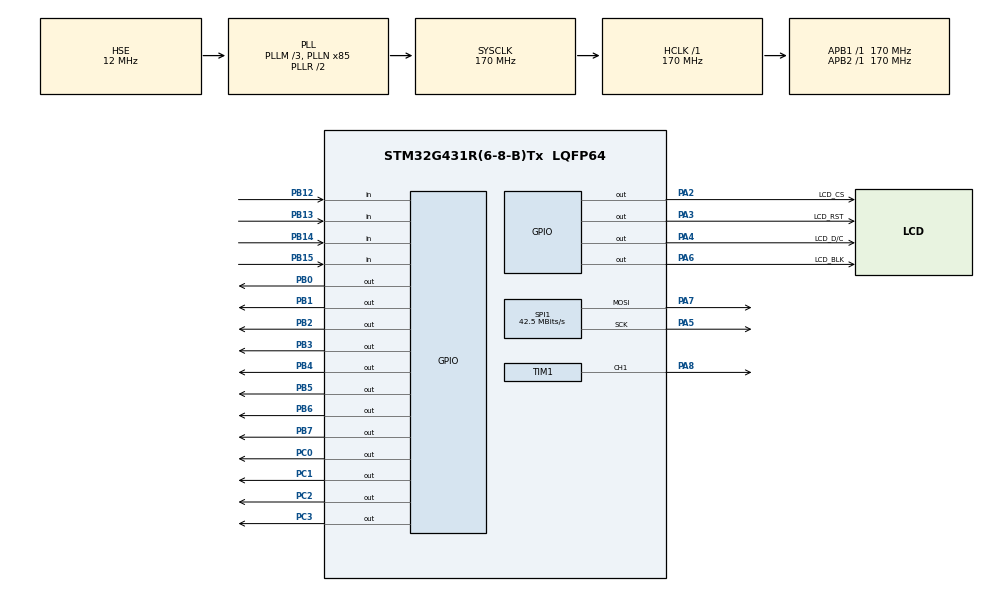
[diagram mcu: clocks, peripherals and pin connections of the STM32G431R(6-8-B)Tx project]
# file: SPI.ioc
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Dma.Request0=SPI1_TX
Dma.SPI1_TX.0.Direction=DMA_MEMORY_TO_PERIPH
Dma.SPI1_TX.0.EventEnable=DISABLE
Dma.SPI1_TX.0.Instance=DMA1_Channel1
Dma.SPI1_TX.0.MemDataAlignment=DMA_MDATAALIGN_BYTE
Dma.SPI1_TX.0.MemInc=DMA_MINC_ENABLE
Dma.SPI1_TX.0.Mode=DMA_NORMAL
Dma.SPI1_TX.0.PeriphDataAlignment=DMA_PDATAALIGN_BYTE
Dma.SPI1_TX.0.PeriphInc=DMA_PINC_DISABLE
Dma.SPI1_TX.0.Polarity=HAL_DMAMUX_REQ_GEN_RISING
Dma.SPI1_TX.0.Priority=DMA_PRIORITY_LOW
Dma.SPI1_TX.0.RequestNumber=1
Dma.SPI1_TX.0.SignalID=NONE
Dma.SPI1_TX.0.SyncEnable=DISABLE
Dma.SPI1_TX.0.SyncPolarity=HAL_DMAMUX_SYNC_NO_EVENT
Dma.SPI1_TX.0.SyncRequestNumber=1
Dma.SPI1_TX.0.SyncSignalID=NONE
Mcu.Family=STM32G4
Mcu.Name=STM32G431R(6-8-B)Tx
Mcu.Package=LQFP64
NVIC.DMA1_Channel1_IRQn=true\:0\:0\:false\:false\:true\:false\:true\:true
NVIC.PriorityGroup=NVIC_PRIORITYGROUP_4
PA2.GPIO_Label=LCD_CS
PA2.Signal=GPIO_Output
PA3.GPIO_Label=LCD_RST
PA3.Signal=GPIO_Output
PA4.GPIO_Label=LCD_D/C
PA4.Signal=GPIO_Output
PA5.GPIO_Speed=GPIO_SPEED_FREQ_VERY_HIGH
PA5.Mode=TX_Only_Simplex_Unidirect_Master
PA5.Signal=SPI1_SCK
PA6.GPIO_Label=LCD_BLK
PA6.Signal=GPIO_Output
PA7.GPIO_Speed=GPIO_SPEED_FREQ_VERY_HIGH
PA7.Mode=TX_Only_Simplex_Unidirect_Master
PA7.Signal=SPI1_MOSI
PA8.Signal=S_TIM1_CH1
PB0.Signal=GPIO_Output
PB1.Signal=GPIO_Output
PB12.Signal=GPIO_Input
PB13.Signal=GPIO_Input
PB14.Signal=GPIO_Input
PB15.Signal=GPIO_Input
PB2.Signal=GPIO_Output
PB3.Signal=GPIO_Output
PB4.Signal=GPIO_Output
PB5.Signal=GPIO_Output
PB6.Signal=GPIO_Output
PB7.Signal=GPIO_Output
PC0.Signal=GPIO_Output
PC1.Signal=GPIO_Output
PC2.Signal=GPIO_Output
PC3.Signal=GPIO_Output
PF0-OSC_IN.Mode=HSE-External-Oscillator
PF0-OSC_IN.Signal=RCC_OSC_IN
PF1-OSC_OUT.Mode=HSE-External-Oscillator
PF1-OSC_OUT.Signal=RCC_OSC_OUT
ProjectManager.HeapSize=0x200
ProjectManager.StackSize=0x400
ProjectManager.TargetToolchain=MDK-ARM V5
RCC.ADC12Freq_Value=170000000
RCC.AHBFreq_Value=170000000
RCC.APB1Freq_Value=170000000
RCC.APB1TimFreq_Value=170000000
RCC.APB2Freq_Value=170000000
RCC.APB2TimFreq_Value=170000000
RCC.CortexFreq_Value=170000000
RCC.EXTERNAL_CLOCK_VALUE=12288000
RCC.HCLKFreq_Value=170000000
RCC.HSE_VALUE=12000000
RCC.HSI48_VALUE=48000000
RCC.HSI_VALUE=16000000
RCC.LSE_VALUE=32768
RCC.PLLM=RCC_PLLM_DIV3
RCC.PLLN=85
RCC.PLLSourceVirtual=RCC_PLLSOURCE_HSE
RCC.SYSCLKFreq_VALUE=170000000
RCC.SYSCLKSource=RCC_SYSCLKSOURCE_PLLCLK
RCC.USBFreq_Value=170000000
RCC.VCOOutputFreq_Value=340000000
SH.S_TIM1_CH1.0=TIM1_CH1,PWM Generation1 CH1
SPI1.BaudRatePrescaler=SPI_BAUDRATEPRESCALER_4
SPI1.CalculateBaudRate=42.5 MBits/s
SPI1.DataSize=SPI_DATASIZE_8BIT
SPI1.Direction=SPI_DIRECTION_2LINES
SPI1.Mode=SPI_MODE_MASTER
SPI1.VirtualType=VM_MASTER
TIM1.Channel-PWM\ Generation1\ CH1=TIM_CHANNEL_1
VP_SYS_VS_DBSignals.Mode=DisableDeadBatterySignals
VP_TIM1_VS_ClockSourceINT.Mode=Internal
VP_TIM1_VS_OPM.Mode=OPM_bit
board=custom

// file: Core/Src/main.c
/* USER CODE BEGIN Header */
/**
  ******************************************************************************
  * @file           : main.c
  * @brief          : Main program body
  ******************************************************************************
  * @attention
  *
  * Copyright (c) 2026 STMicroelectronics.
  * All rights reserved.
  *
  * This software is licensed under terms that can be found in the LICENSE file
  * in the root directory of this software component.
  * If no LICENSE file comes with this software, it is provided AS-IS.
  *
  ******************************************************************************
  */
/* USER CODE END Header */
#include "main.h"
#include "dma.h"
#include "spi.h"
#include "tim.h"
#include "gpio.h"

/* USER CODE BEGIN Includes */
#include "lcd_init.h"
#include "lcd.h"
#include "pic.h"
#include<math.h>
/* USER CODE END Includes */

/* USER CODE BEGIN PD */
#define CENTER_X 140
#define CENTER_Y 120
#define RADIUS 100
#define SECOND_HAND_LEN 60 //
#define MINUTE_HAND_LEN 40
#define HOUR_HAND_LEN 20
#define       SEG_A      (1<<0)
#define       SEG_B      (1<<1)
#define       SEG_C      (1<<2)
#define       SEG_D      (1<<3)
#define       SEG_E      (1<<4)
#define       SEG_F      (1<<5)
#define       SEG_G      (1<<6)
#define       SEG_DP     (1<<7)
#define       DIG_0      (SEG_A+SEG_B+SEG_C+SEG_D+SEG_E+SEG_F)
#define       DIG_1      (SEG_B+SEG_C)
#define       DIG_2      (SEG_A+SEG_B+SEG_D+SEG_E+SEG_G)
#define      	DIG_3      (SEG_A+SEG_B+SEG_C+SEG_D+SEG_G)
#define       DIG_4      (SEG_B+SEG_C+SEG_F+SEG_G)
#define       DIG_5      (SEG_A+SEG_F+SEG_G+SEG_C+SEG_D)
#define       DIG_6      (SEG_A+SEG_C+SEG_D+SEG_E+SEG_F+SEG_G)
#define       DIG_7      (SEG_A+SEG_B+SEG_C)
#define       DIG_8   	 (SEG_A+SEG_B+SEG_C+SEG_D+SEG_E+SEG_F+SEG_G)
#define       DIG_9      (SEG_A+SEG_B+SEG_C+SEG_D+SEG_F+SEG_G)
#define       DIG_A      (SEG_A+SEG_B+SEG_C+SEG_E+SEG_F+SEG_G)
#define       DIG_b      (SEG_C+SEG_D+SEG_E+SEG_F+SEG_G)
#define       DIG_C      (SEG_A+SEG_D+SEG_E+SEG_F)
#define       DIG_d      (SEG_B+SEG_C+SEG_D+SEG_E+SEG_G)
#define       DIG_E      (SEG_A+SEG_D+SEG_E+SEG_F+SEG_G)
#define       DIG_15     (SEG_A+SEG_E+SEG_F+SEG_G)//F
/* USER CODE END PD */

char Table[16] = { DIG_0,DIG_1,DIG_2,DIG_3,DIG_4,DIG_5,DIG_6,DIG_7,
                                     DIG_8,DIG_9,DIG_A,DIG_b,DIG_C,DIG_d,DIG_E,DIG_15
                                    };
char buf[8];
/* USER CODE BEGIN PV */
extern int s;
extern int m;
extern int h;
extern int Flag2msok;
extern int Flag1sok;
extern int old_h;
extern int old_m;
extern int old_s;

/* USER CODE END PV */

void SystemClock_Config(void);
/* USER CODE BEGIN PFP */
void DrawClockFace() {

    Draw_Circle(CENTER_X, CENTER_Y, RADIUS, 0xFFFF);

    for (int i = 0; i < 12; i++) {
        float angle = i * 30 * 3.14159 / 180;
        uint16_t x_start = CENTER_X + (RADIUS - 10) * sin(angle);
        uint16_t y_start = CENTER_Y - (RADIUS - 10) * cos(angle);
        uint16_t x_end = CENTER_X + RADIUS * sin(angle);
        uint16_t y_end = CENTER_Y - RADIUS * cos(angle);
        LCD_DrawLine(x_start, y_start, x_end, y_end, 0xFFFF);
		}

    for (int i = 0; i < 60; i++) {
        float angle = i * 6 * 3.14159 / 180;
        uint16_t x_start1 = CENTER_X + (RADIUS - 5) * sin(angle);
        uint16_t y_start1 = CENTER_Y - (RADIUS - 5) * cos(angle);
        uint16_t x_end1 = CENTER_X + RADIUS * sin(angle);
        uint16_t y_end1= CENTER_Y - RADIUS * cos(angle);
        LCD_DrawLine(x_start1, y_start1, x_end1, y_end1, 0xFFFF);
    }
}

void DrawHands(uint8_t old_h, uint8_t old_m, uint8_t old_s, uint8_t new_h, uint8_t new_m, uint8_t new_s) {

    float second_angle_old = old_s * 6 * 3.14159 / 180;
    float minute_angle_old = (old_m + old_s / 60.0) * 6 * 3.14159 / 180;
    float hour_angle_old = (old_h % 12 + old_m / 60.0) * 30 * 3.14159 / 180;

    float second_angle_new = new_s * 6 * 3.14159 / 180;
    float minute_angle_new = (new_m + new_s / 60.0) * 6 * 3.14159 / 180;
    float hour_angle_new = (new_h % 12 + new_m / 60.0) * 30 * 3.14159 / 180;

    LCD_DrawLine(CENTER_X, CENTER_Y,
                 CENTER_X + SECOND_HAND_LEN * sin(second_angle_old),
                 CENTER_Y - SECOND_HAND_LEN * cos(second_angle_old),BLUE );
    LCD_DrawLine(CENTER_X, CENTER_Y,
                 CENTER_X + MINUTE_HAND_LEN * sin(minute_angle_old),
                 CENTER_Y - MINUTE_HAND_LEN * cos(minute_angle_old),BLUE );
    LCD_DrawLine(CENTER_X, CENTER_Y,
                 CENTER_X + HOUR_HAND_LEN * sin(hour_angle_old),
                 CENTER_Y - HOUR_HAND_LEN * cos(hour_angle_old),BLUE );

    LCD_DrawLine(CENTER_X, CENTER_Y,
                 CENTER_X + SECOND_HAND_LEN * sin(second_angle_new),
                 CENTER_Y - SECOND_HAND_LEN * cos(second_angle_new),WHITE);
    LCD_DrawLine(CENTER_X, CENTER_Y,
                 CENTER_X + MINUTE_HAND_LEN * sin(minute_angle_new),
                 CENTER_Y - MINUTE_HAND_LEN * cos(minute_angle_new), WHITE);
    LCD_DrawLine(CENTER_X, CENTER_Y,
                 CENTER_X + HOUR_HAND_LEN * sin(hour_angle_new),
                 CENTER_Y - HOUR_HAND_LEN * cos(hour_angle_new), WHITE);
}

void RemoveHands(uint8_t old_h, uint8_t old_m, uint8_t old_s) {

    float second_angle_old = old_s * 6 * 3.14159 / 180;
    float minute_angle_old = (old_m + old_s / 60.0) * 6 * 3.14159 / 180;
    float hour_angle_old = (old_h % 12 + old_m / 60.0) * 30 * 3.14159 / 180;

    LCD_DrawLine(CENTER_X, CENTER_Y,
                 CENTER_X + SECOND_HAND_LEN * sin(second_angle_old),
                 CENTER_Y - SECOND_HAND_LEN * cos(second_angle_old),BLUE );
    LCD_DrawLine(CENTER_X, CENTER_Y,
                 CENTER_X + MINUTE_HAND_LEN * sin(minute_angle_old),
                 CENTER_Y - MINUTE_HAND_LEN * cos(minute_angle_old),BLUE );
    LCD_DrawLine(CENTER_X, CENTER_Y,
                 CENTER_X + HOUR_HAND_LEN * sin(hour_angle_old),
                 CENTER_Y - HOUR_HAND_LEN * cos(hour_angle_old),BLUE );

}

void Drawnum(void){
    for (int i = 1; i <= 12; i++) {
        float angle = i * 30 * 3.14159 / 180;
        uint16_t x_start = CENTER_X + (RADIUS+10) * sin(angle);
        uint16_t y_start = CENTER_Y - (RADIUS+10) * cos(angle);
        LCD_ShowIntNum(x_start,y_start,i,i/10+1,WHITE,BLUE,12);
		}
}
void DispNum(int data)
{
        int i = 0;

      if( data == 0 )
        {
                buf[7] = Table[0];
              for( i = 6; i >= 0; i-- )
                {
                      buf[i] = 0;
                }
                return;
        }

        for( i = 7; i >= 0; i-- )
        {
                if(data == 0)
                {
                        buf[i] = 0;
                }
                else
                {
                        buf[i] = Table[data%10];
                        data /= 10;
                }
        }

        return;
}
int Key(int num)
{
    static int state[4] = {0};
    int result = 0;

    switch(state[num])
    {
        case 0:
            if( (GPIOB->IDR & (1 << (num+12))) == 0 )
            {
                    state[num] = 1;
            }
            break;
        case 1:
            if( (GPIOB->IDR & (1 << (num+12))) == (1 << (num+12)))
            {
                    state[num] = 0;
            }
            else
            {
                    state[num] = 2;
                  result = 1;
            }
            break;
        case 2:
            if( (GPIOB->IDR & (1 << (num+12))) == (1 << (num+12)))
            {
                    state[num] = 0;
            }
            else
            {
            }
            break;
    }

    return result;
}
/* USER CODE END PFP */

int main(void)
{

  /* MCU Configuration--------------------------------------------------------*/

  /* Reset of all peripherals, Initializes the Flash interface and the Systick. */
  HAL_Init();

  /* Configure the system clock */
  SystemClock_Config();

  /* Initialize all configured peripherals */
  MX_GPIO_Init();
  MX_DMA_Init();
  MX_SPI1_Init();
  MX_TIM1_Init();
  /* USER CODE BEGIN 2 */
	LCD_Init();//LCD初始化
  LCD_Init();//LCD初始化
  LCD_Fill(0,0,LCD_W,LCD_H,BLUE);
	DrawClockFace();
	Drawnum();
  /* USER CODE END 2 */

  /* Infinite loop */
  /* USER CODE BEGIN WHILE */
	GPIOC->ODR |= (1 << 3);
	int pos=0;
	int A=s%10+(s/10)*10+(m%10)*100+(m/10)*1000+(h%10)*10000+(h/10)*100000;

  while (1)
  {
    /* USER CODE END WHILE */

    /* USER CODE BEGIN 3 */
		//LCD_ShowPicture(50,50,150,79,gImage_1);
		//LCD_ShowPicture(50,129,150,79,gImage_1);
		if(Flag2msok == 1){

			 if(Key(0)==1)
				   RemoveHands(h,m,s++);
			 if(Key(1)==1){
					 RemoveHands(h,m,s);
					 s+=10;
			 }
			 if(Key(2)==1){
					 RemoveHands(h,m++,s);
			 }
			 if(Key(3)==1){
					 RemoveHands(h,m,s);
					 m+=10;
			 }
			 A=s%10+(s/10)*10+(m%10)*100+(m/10)*1000+(h%10)*10000+(h/10)*100000;
			 DispNum(A);
			 Flag2msok = 0;
			 GPIOB->ODR &= (~255); //&=0b00000000
			 GPIOB->ODR |= buf[pos];

			 GPIOC->ODR &= (~7);//&=0b00001000
			 GPIOC->ODR |= pos;

			 pos++;
			 if(pos >= 8)
			 {
						pos = 0;
			 }
		}

		if(Flag1sok==1){
			 DrawHands(old_h,old_m,old_s,h,m,s);
			 A=s%10+(s/10)*10+(m%10)*100+(m/10)*1000+(h%10)*10000+(h/10)*100000;
			 Flag1sok=0;
		}

	}
  /* USER CODE END 3 */
}

void SystemClock_Config(void)
{
  RCC_OscInitTypeDef RCC_OscInitStruct = {0};
  RCC_ClkInitTypeDef RCC_ClkInitStruct = {0};

  /** Configure the main internal regulator output voltage
  */
  HAL_PWREx_ControlVoltageScaling(PWR_REGULATOR_VOLTAGE_SCALE1_BOOST);

  /** Initializes the RCC Oscillators according to the specified parameters
  * in the RCC_OscInitTypeDef structure.
  */
  RCC_OscInitStruct.OscillatorType = RCC_OSCILLATORTYPE_HSE;
  RCC_OscInitStruct.HSEState = RCC_HSE_ON;
  RCC_OscInitStruct.PLL.PLLState = RCC_PLL_ON;
  RCC_OscInitStruct.PLL.PLLSource = RCC_PLLSOURCE_HSE;
  RCC_OscInitStruct.PLL.PLLM = RCC_PLLM_DIV3;
  RCC_OscInitStruct.PLL.PLLN = 85;
  RCC_OscInitStruct.PLL.PLLP = RCC_PLLP_DIV2;
  RCC_OscInitStruct.PLL.PLLQ = RCC_PLLQ_DIV2;
  RCC_OscInitStruct.PLL.PLLR = RCC_PLLR_DIV2;
  if (HAL_RCC_OscConfig(&RCC_OscInitStruct) != HAL_OK)
  {
    Error_Handler();
  }

  /** Initializes the CPU, AHB and APB buses clocks
  */
  RCC_ClkInitStruct.ClockType = RCC_CLOCKTYPE_HCLK|RCC_CLOCKTYPE_SYSCLK
                              |RCC_CLOCKTYPE_PCLK1|RCC_CLOCKTYPE_PCLK2;
  RCC_ClkInitStruct.SYSCLKSource = RCC_SYSCLKSOURCE_PLLCLK;
  RCC_ClkInitStruct.AHBCLKDivider = RCC_SYSCLK_DIV1;
  RCC_ClkInitStruct.APB1CLKDivider = RCC_HCLK_DIV1;
  RCC_ClkInitStruct.APB2CLKDivider = RCC_HCLK_DIV1;

  if (HAL_RCC_ClockConfig(&RCC_ClkInitStruct, FLASH_LATENCY_4) != HAL_OK)
  {
    Error_Handler();
  }
}

void Error_Handler(void)
{
  __disable_irq();
  while (1)
  {
  }
}
